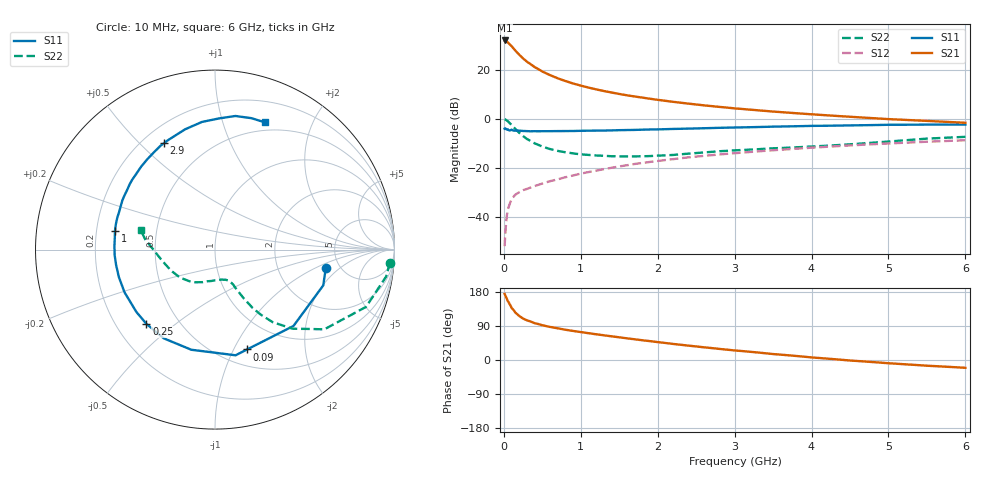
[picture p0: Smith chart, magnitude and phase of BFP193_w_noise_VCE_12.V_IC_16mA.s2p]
! Infineon Technologies  Discrete & RF Semiconductors
! BFP193
! VCE =  12. V,  IC =  16 mA
! Common Emitter S-Parameters:  Jan 2017
# GHz  S  MA  R  50
!  f  S11  S21  S12  S22
! GHz  MAG  ANG  MAG  ANG  MAG  ANG  MAG  ANG
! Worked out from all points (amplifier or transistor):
!   77 points, 10 MHz to 6 GHz, reference 50 ohm
!   highest |S21| = 32.0 dB at 10 MHz (marker M1)
!   |S21| within 3 dB of that: start of sweep to 119.1 MHz
!   unconditionally stable (mu >= 1): 1.032 GHz to 2.545 GHz
!   at 130 MHz: K = 0.32, MSG = 30.1 dB, |S12| = -31.7 dB
!   at 2.2 GHz: K = 1.02, MAG = 10.8 dB, |S12| = -16.5 dB
!   at 6 GHz: K = 0.88, MSG = 3.6 dB, |S12| = -8.8 dB
!   lowest NFmin = 0.97 dB at 450 MHz
!   S11 on the Smith chart (normalised r, x): 10 MHz: 3.90, -1.28; 90 MHz: 0.67, -1.13; 250 MHz: 0.33, -0.40; 1 GHz: 0.28, +0.09; 2.9 GHz: 0.28, +0.59; 6 GHz: 0.41, +1.39
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0.01  0.6258 -9.2  39.71 174.4  0.0025 74.1  0.9776 -4.3
0.02  0.6353 -18.3  39.62 169.8  0.0047 79.5  0.9656 -8.9
0.05  0.61 -44.2  36.58 156.0  0.0135 71.6  0.8997 -20.8
0.09  0.5843 -72.2  31.44 142.0  0.0207 62.1  0.7781 -32.6
0.1  0.5999 -79.0  30.51 137.8  0.0226 60.7  0.7539 -36.1
0.15  0.5734 -103.3  24.66 125.0  0.0283 52.1  0.6167 -45.6
0.2  0.5709 -120.0  20.31 116.2  0.0315 50.4  0.5168 -51.5
0.25  0.5633 -132.7  17.08 109.4  0.0348 48.0  0.4425 -54.9
0.3  0.5591 -141.6  14.64 104.6  0.0369 47.8  0.3867 -57.2
0.4  0.5574 -154.7  11.38 97.2  0.0422 49.7  0.3147 -59.5
0.5  0.5571 -164.1  9.233 91.8  0.0475 51.4  0.2704 -60.9
0.6  0.5576 -171.2  7.783 87.3  0.0531 52.5  0.2407 -61.9
0.7  0.5599 -176.8  6.704 83.6  0.0578 54.5  0.2205 -62.5
1  0.5671 169.4  4.752 73.7  0.0758 56.8  0.1875 -67.0
1.1  0.5702 165.6  4.333 70.8  0.0815 56.9  0.1827 -68.7
1.5  0.5846 152.0  3.208 59.9  0.106 56.6  0.1702 -79.6
2.1  0.6123 134.3  2.323 44.9  0.1435 53.0  0.179 -100.8
2.9  0.6577 115.6  1.688 27.3  0.1921 45.8  0.2214 -126.0
3.1  0.6672 111.5  1.582 23.5  0.2037 43.8  0.2301 -131.5
4.1  0.7173 94.2  1.204 5.3  0.2619 33.9  0.276 -157.4
5.1  0.7536 79.9  0.967 -9.8  0.3181 23.0  0.3521 178.3
6  0.7617 68.4  0.827 -20.6  0.364 13.0  0.4278 165.3
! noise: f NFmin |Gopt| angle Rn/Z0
0.45  0.97  0.24  173  0.07
0.9  1.06  0.36  179  0.07
1.9  1.74  0.56  -142  0.14
2.4  2.05  0.62  -125  0.33
